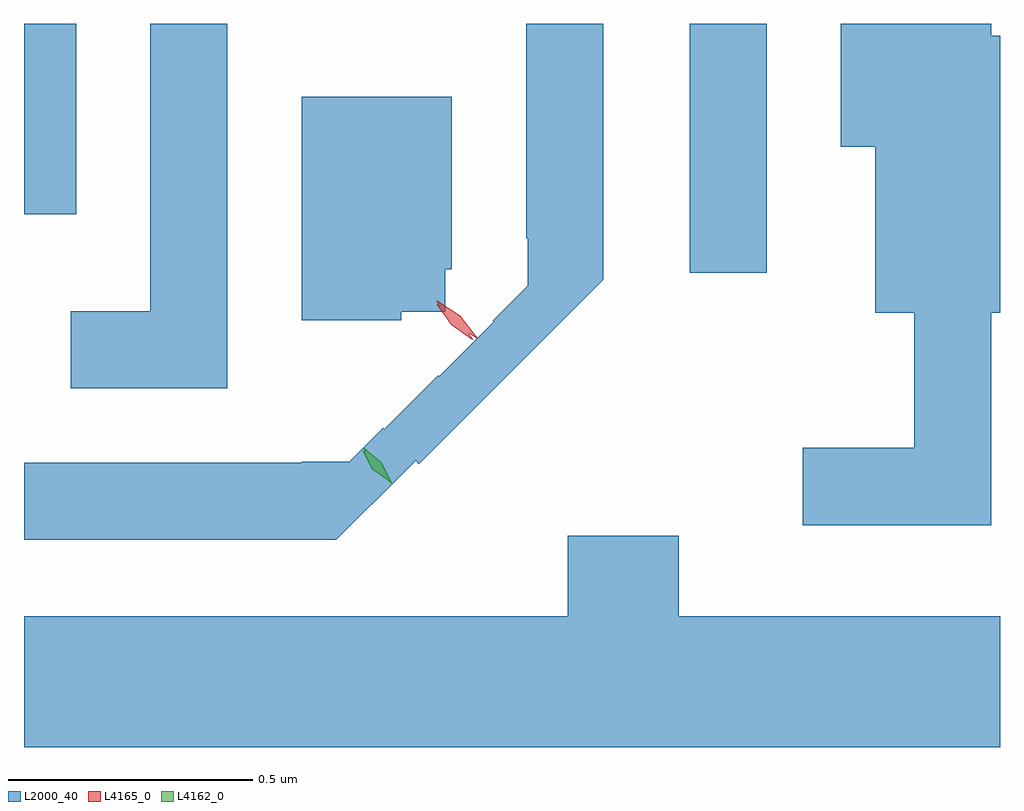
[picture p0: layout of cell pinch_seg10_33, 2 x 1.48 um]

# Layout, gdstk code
import gdstk
lib = gdstk.Library(unit=1e-6, precision=1e-09)
def R(c, l, rs):  # rectangles x0, y0, x1, y1
    for r in rs: c.add(gdstk.rectangle(r[:2], r[2:], *l))
def P(c, l, *ps):  # polygons
    for p in ps: c.add(gdstk.Polygon(p, *l))
L2000_40 = (2000, 40)
L4162_0 = (4162, 0)
L4165_0 = (4165, 0)

pinch_seg10_33 = lib.new_cell('pinch_seg10_33')
R(pinch_seg10_33, L2000_40, [(618.556,2148.188,618.714,2148.698), (617.192,2148.308,617.299,2148.698)])
P(pinch_seg10_33, L2000_40, [(617.609,2148.698),(617.451,2148.698),(617.451,2148.109),(617.288,2148.109),(617.288,2147.951),(617.609,2147.951)],
  [(617.905,2147.714),(617.906,2147.714),(617.995,2147.803),(618.001,2147.796),(618.379,2148.174),(618.379,2148.698),(618.221,2148.698),(618.221,2148.259),(618.224,2148.259),(618.224,2148.161),(618.153,2148.09),(618.155,2148.088),(618.043,2147.976),(618.041,2147.978),(617.93,2147.867),(617.928,2147.87),(617.859,2147.801),(617.761,2147.801),(617.761,2147.799),(617.192,2147.799),(617.192,2147.641),(617.832,2147.641)],
  [(619.174,2148.106),(619.192,2148.106),(619.192,2148.674),(619.174,2148.674),(619.174,2148.698),(618.866,2148.698),(618.866,2148.446),(618.936,2148.446),(618.936,2148.106),(619.016,2148.106),(619.016,2147.829),(618.788,2147.829),(618.788,2147.671),(619.174,2147.671)],
  [(617.965,2148.108),(618.055,2148.108),(618.055,2148.195),(618.069,2148.195),(618.069,2148.549),(617.761,2148.549),(617.761,2148.091),(617.965,2148.091)],
  [(619.192,2147.484),(618.534,2147.484),(618.534,2147.649),(618.306,2147.649),(618.306,2147.484),(617.192,2147.484),(617.192,2147.216),(619.192,2147.216)])
P(pinch_seg10_33, L4162_0, [(617.945,2147.757),(617.909,2147.787),(617.887,2147.829),(617.887,2147.829),(617.888,2147.829),(617.924,2147.8),(617.946,2147.758),(617.946,2147.757)],
  [(617.94,2147.761),(617.906,2147.785),(617.887,2147.821),(617.887,2147.822),(617.888,2147.822),(617.922,2147.798),(617.94,2147.762),(617.94,2147.761)])
P(pinch_seg10_33, L4165_0, [(618.12,2148.054),(618.073,2148.085),(618.038,2148.13),(618.038,2148.131),(618.039,2148.131),(618.086,2148.1),(618.121,2148.055),(618.121,2148.054)],
  [(618.111,2148.051),(618.068,2148.081),(618.038,2148.124),(618.038,2148.125),(618.038,2148.125),(618.082,2148.095),(618.112,2148.052),(618.112,2148.051)])

lib.write_gds('pinch_seg10_33.gds')
